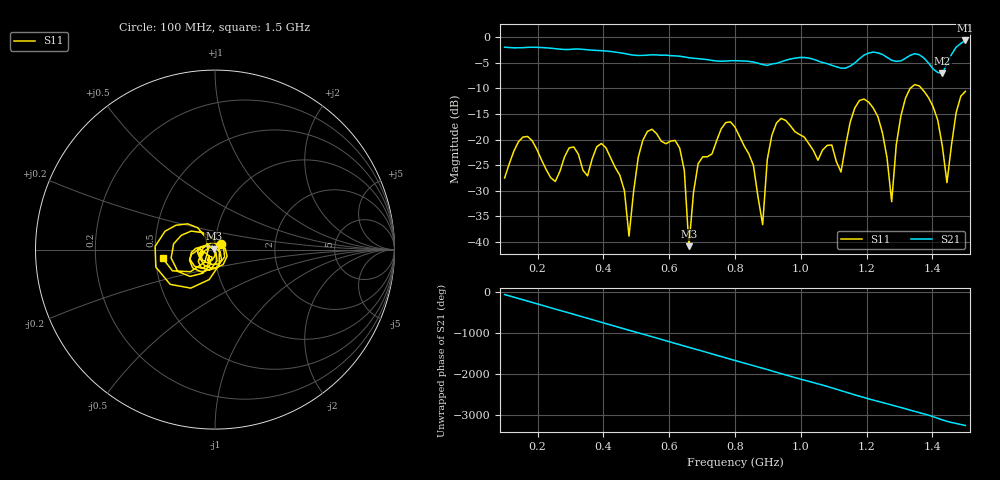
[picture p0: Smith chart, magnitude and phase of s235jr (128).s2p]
! NanoVNA-App
! Date: 2025-09-25 15:05:09
! Start: 100MHz Stop: 1,5GHz Points: 101
! S-Parameter data: F S11 S21 S12 S22
# Hz S RI R 50
!  Frequency  S11_Real  S11_Imag  S21_Real  S21_Imag  S12_Real  S12_Imag  S22_Real  S22_Imag
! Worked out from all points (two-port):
!   101 points, 100 MHz to 1.5 GHz, reference 50 ohm
!   highest |S21| = -0.65 dB at 1.5 GHz (marker M1); lowest = -7.1 dB at 1.43 GHz (marker M2)
!   |S21| within 3 dB of the highest: start of sweep to 616.2 MHz; 1.189 GHz to 1.255 GHz (65.36 MHz wide, 5.35 % of centre) (the widest 2 of 4)
!   lowest |S11| = -40.8 dB at 660 MHz (marker M3), VSWR 1.02, Z = 49.3 + j0.597 ohm
!   |S11| at or under -10 dB: start of sweep to 1.332 GHz; 1.366 GHz to end of sweep
!   S12 and S22 are empty: the file has one direction only
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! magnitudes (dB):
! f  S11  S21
! 100 MHz  -27.5  -2.0
! 170 MHz  -19.4  -2.0
! 338 MHz  -26.0  -2.4
! 408 MHz  -21.6  -2.7
! 478 MHz  -38.8  -3.4
! 520 MHz  -20.1  -3.6
! 576 MHz  -20.3  -3.5
! 632 MHz  -21.7  -3.7
! 660 MHz  -40.8  -4.0
! 688 MHz  -24.7  -4.2
! 800 MHz  -17.6  -4.6
! 884 MHz  -36.6  -5.4
! 898 MHz  -23.9  -5.5
! 926 MHz  -16.8  -5.1
! 1.038 GHz  -22.1  -4.3
! 1.122 GHz  -26.3  -6.1
! 1.206 GHz  -12.7  -3.1
! 1.276 GHz  -32.1  -4.5
! 1.332 GHz  -10.0  -3.6
! 1.43 GHz  -21.3  -7.1
! 1.444 GHz  -28.4  -5.2
! 1.5 GHz  -10.6  -0.7
